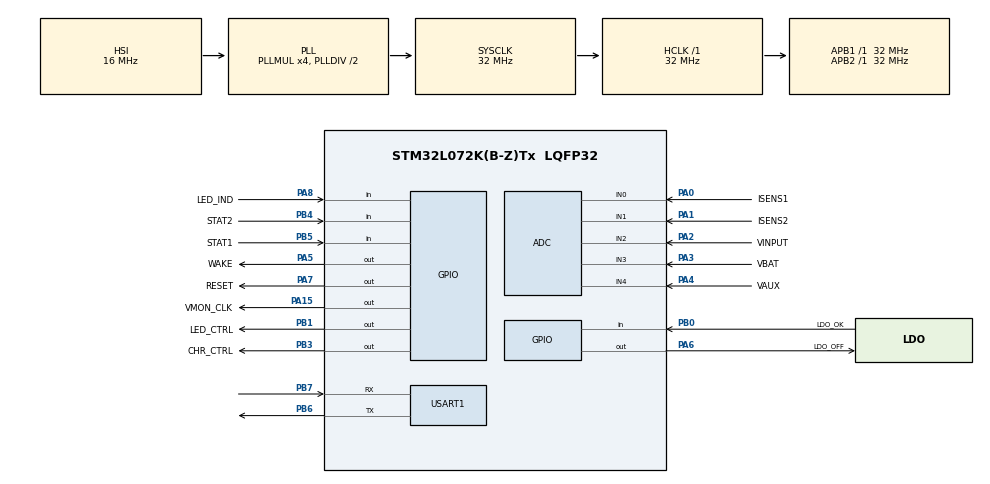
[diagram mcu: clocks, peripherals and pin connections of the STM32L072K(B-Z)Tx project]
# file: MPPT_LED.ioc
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ADC.ClockPrescaler=ADC_CLOCK_ASYNC_DIV4
ADC.ContinuousConvMode=ENABLE
ADC.DMAContinuousRequests=ENABLE
ADC.EOCSelection=ADC_EOC_SEQ_CONV
ADC.Overrun=ADC_OVR_DATA_OVERWRITTEN
ADC.SamplingTime=ADC_SAMPLETIME_39CYCLES_5
CRC.DefaultInitValueUse=DEFAULT_INIT_VALUE_ENABLE
CRC.DefaultPolynomialUse=DEFAULT_POLYNOMIAL_ENABLE
Dma.ADC.0.Direction=DMA_PERIPH_TO_MEMORY
Dma.ADC.0.Instance=DMA1_Channel1
Dma.ADC.0.MemDataAlignment=DMA_MDATAALIGN_HALFWORD
Dma.ADC.0.MemInc=DMA_MINC_ENABLE
Dma.ADC.0.Mode=DMA_CIRCULAR
Dma.ADC.0.PeriphDataAlignment=DMA_PDATAALIGN_HALFWORD
Dma.ADC.0.PeriphInc=DMA_PINC_DISABLE
Dma.ADC.0.Priority=DMA_PRIORITY_HIGH
Dma.Request0=ADC
Dma.Request1=USART1_RX
Dma.Request2=USART1_TX
Dma.USART1_RX.1.Direction=DMA_PERIPH_TO_MEMORY
Dma.USART1_RX.1.Instance=DMA1_Channel3
Dma.USART1_RX.1.MemDataAlignment=DMA_MDATAALIGN_BYTE
Dma.USART1_RX.1.MemInc=DMA_MINC_ENABLE
Dma.USART1_RX.1.Mode=DMA_CIRCULAR
Dma.USART1_RX.1.PeriphDataAlignment=DMA_PDATAALIGN_BYTE
Dma.USART1_RX.1.PeriphInc=DMA_PINC_DISABLE
Dma.USART1_RX.1.Priority=DMA_PRIORITY_HIGH
Dma.USART1_TX.2.Direction=DMA_MEMORY_TO_PERIPH
Dma.USART1_TX.2.Instance=DMA1_Channel2
Dma.USART1_TX.2.MemDataAlignment=DMA_MDATAALIGN_BYTE
Dma.USART1_TX.2.MemInc=DMA_MINC_ENABLE
Dma.USART1_TX.2.Mode=DMA_NORMAL
Dma.USART1_TX.2.PeriphDataAlignment=DMA_PDATAALIGN_BYTE
Dma.USART1_TX.2.PeriphInc=DMA_PINC_DISABLE
Dma.USART1_TX.2.Priority=DMA_PRIORITY_MEDIUM
FREERTOS.Tasks01=defaultTask,0,64,StartDefaultTask,Default,NULL,Dynamic,NULL,NULL
FREERTOS.configENABLE_FPU=1
FREERTOS.configMINIMAL_STACK_SIZE=64
FREERTOS.configTOTAL_HEAP_SIZE=6144
FREERTOS.configUSE_NEWLIB_REENTRANT=0
FREERTOS.configUSE_TASK_NOTIFICATIONS=1
IWDG.Prescaler=IWDG_PRESCALER_256
Mcu.Family=STM32L0
Mcu.Name=STM32L072K(B-Z)Tx
Mcu.Package=LQFP32
NVIC.ADC1_COMP_IRQn=true\:3\:0\:false\:false\:true\:true\:true\:true
NVIC.DMA1_Channel1_IRQn=true\:3\:0\:false\:false\:true\:true\:false\:true
NVIC.DMA1_Channel2_3_IRQn=true\:3\:0\:false\:false\:true\:true\:false\:true
NVIC.RCC_CRS_IRQn=true\:3\:0\:false\:false\:true\:true\:true\:false
NVIC.TIM21_IRQn=true\:3\:0\:false\:true\:true\:1\:true\:true\:true
NVIC.TIM2_IRQn=true\:3\:0\:false\:false\:true\:false\:false\:true
NVIC.TIM7_IRQn=true\:3\:0\:false\:false\:true\:true\:true\:true
NVIC.TimeBase=TIM2_IRQn
NVIC.TimeBaseIP=TIM2
NVIC.USART1_IRQn=true\:3\:0\:false\:false\:true\:true\:true\:true
PA0.GPIO_Label=ISENS1
PA0.Mode=IN0
PA0.Signal=ADC_IN0
PA1.GPIO_Label=ISENS2
PA1.Mode=IN1
PA1.Signal=ADC_IN1
PA13.Mode=Serial_Wire
PA13.Signal=SYS_SWDIO
PA14.Mode=Serial_Wire
PA14.Signal=SYS_SWCLK
PA15.GPIO_Label=VMON_CLK
PA15.Signal=GPIO_Output
PA2.GPIO_Label=VINPUT
PA2.Mode=IN2
PA2.Signal=ADC_IN2
PA3.GPIO_Label=VBAT
PA3.Mode=IN3
PA3.Signal=ADC_IN3
PA4.GPIO_Label=VAUX
PA4.Mode=IN4
PA4.Signal=ADC_IN4
PA5.GPIO_Label=WAKE
PA5.GPIO_PuPd=GPIO_PULLDOWN
PA5.Signal=GPIO_Output
PA6.GPIO_Label=LDO_OFF
PA6.GPIO_PuPd=GPIO_PULLDOWN
PA6.PinState=GPIO_PIN_SET
PA6.Signal=GPIO_Output
PA7.GPIO_Label=RESET
PA7.GPIO_PuPd=GPIO_PULLDOWN
PA7.Signal=GPIO_Output
PA8.GPIO_Label=LED_IND
PA8.Signal=GPIO_Input
PB0.GPIO_Label=LDO_OK
PB0.GPIO_PuPd=GPIO_PULLUP
PB0.Signal=GPIO_Input
PB1.GPIO_Label=LED_CTRL
PB1.GPIO_PuPd=GPIO_PULLDOWN
PB1.Signal=GPIO_Output
PB3.GPIO_Label=CHR_CTRL
PB3.GPIO_PuPd=GPIO_PULLDOWN
PB3.Signal=GPIO_Output
PB4.GPIO_Label=STAT2
PB4.GPIO_PuPd=GPIO_PULLUP
PB4.Signal=GPIO_Input
PB5.GPIO_Label=STAT1
PB5.GPIO_PuPd=GPIO_PULLUP
PB5.Signal=GPIO_Input
PB6.GPIO_PuPd=GPIO_PULLUP
PB6.GPIO_Speed=GPIO_SPEED_FREQ_MEDIUM
PB6.Mode=Asynchronous
PB6.Signal=USART1_TX
PB7.GPIO_PuPd=GPIO_PULLUP
PB7.GPIO_Speed=GPIO_SPEED_FREQ_MEDIUM
PB7.Mode=Asynchronous
PB7.Signal=USART1_RX
ProjectManager.HeapSize=0x400
ProjectManager.StackSize=0x400
ProjectManager.TargetToolchain=STM32CubeIDE
RCC.ADCFreq_Value=16000000
RCC.AHBFreq_Value=32000000
RCC.APB1Freq_Value=32000000
RCC.APB1TimFreq_Value=32000000
RCC.APB2Freq_Value=32000000
RCC.APB2TimFreq_Value=32000000
RCC.HCLKFreq_Value=32000000
RCC.HSI16_VALUE=16000000
RCC.HSI48MClockSelection=RCC_USBCLKSOURCE_HSI48
RCC.HSI48_VALUE=48000000
RCC.HSI_VALUE=16000000
RCC.LSE_VALUE=32768
RCC.MSIClockRange=RCC_MSIRANGE_6
RCC.MSI_VALUE=4194000
RCC.PLLMUL=RCC_PLLMUL_4
RCC.SYSCLKFreq_VALUE=32000000
RCC.SYSCLKSource=RCC_SYSCLKSOURCE_PLLCLK
RCC.Usart1ClockSelection=RCC_USART1CLKSOURCE_HSI
RCC.VCOOutputFreq_Value=64000000
SYS.PVDLevel=PWR_PVDLEVEL_6
TIM21.AutoReloadPreload=TIM_AUTORELOAD_PRELOAD_ENABLE
TIM21.Period=100-1
TIM21.Prescaler=32000-1
TIM22.Period=0xFFFF-1
TIM22.Prescaler=32-1
TIM7.AutoReloadPreload=TIM_AUTORELOAD_PRELOAD_ENABLE
TIM7.Period=10000
TIM7.Prescaler=32
USART1.VirtualMode-Asynchronous=VM_ASYNC
VP_CRC_VS_CRC.Mode=CRC_Activate
VP_FREERTOS_VS_CMSIS_V1.Mode=CMSIS_V1
VP_IWDG_VS_IWDG.Mode=IWDG_Activate
VP_SYS_VS_tim2.Mode=TIM2
VP_SYS_V_PVD_IN.Mode=Mode_PVD_Int
VP_TIM21_VS_ClockSourceINT.Mode=Internal
VP_TIM22_VS_ClockSourceINT.Mode=Internal
VP_TIM7_VS_ClockSourceINT.Mode=Enable_Timer
board=custom

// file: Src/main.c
/* USER CODE BEGIN Header */
/**
  ******************************************************************************
  * @file           : main.c
  * @brief          : Main program body
  ******************************************************************************
  * @attention
  *
  * <h2><center>&copy; Copyright (c) 2020 STMicroelectronics.
  * All rights reserved.</center></h2>
  *
  * This software component is licensed by ST under BSD 3-Clause license,
  * the "License"; You may not use this file except in compliance with the
  * License. You may obtain a copy of the License at:
  *                        opensource.org/licenses/BSD-3-Clause
  *
  ******************************************************************************
  */
/* USER CODE END Header */
#include "main.h"
#include "cmsis_os.h"

/* USER CODE BEGIN Includes */
#include "led_control_task.h"
#include "monitor_task.h"
#include "indication_task.h"
#include "management_task.h"
#include "eeprom.h"
#include "modem.h"
#include "StringCommandParser.h"
#include "string.h"
/* USER CODE END Includes */

ADC_HandleTypeDef hadc;
DMA_HandleTypeDef hdma_adc;

CRC_HandleTypeDef hcrc;

IWDG_HandleTypeDef hiwdg;

TIM_HandleTypeDef htim7;
TIM_HandleTypeDef htim21;
TIM_HandleTypeDef htim22;

UART_HandleTypeDef huart1;
DMA_HandleTypeDef hdma_usart1_rx;
DMA_HandleTypeDef hdma_usart1_tx;

osThreadId defaultTaskHandle;
/* USER CODE BEGIN PV */
EEPROMStorageTypDef eeprom_info;
uint8_t aRxBuffer;
/* USER CODE END PV */

void SystemClock_Config(void);
static void MX_CRC_Init(void);
static void MX_USART1_UART_Init(void);
static void MX_TIM7_Init(void);
static void MX_IWDG_Init(void);
void StartDefaultTask(void const * argument);

static void MX_NVIC_Init(void);

int main(void)
{

  /* MCU Configuration--------------------------------------------------------*/

  /* Reset of all peripherals, Initializes the Flash interface and the Systick. */
  HAL_Init();

  /* Configure the system clock */
  SystemClock_Config();

  /* Initialize all configured peripherals */
  MX_GPIO_Init();
  MX_DMA_Init();
  MX_ADC_Init();
  MX_TIM22_Init();
  MX_TIM21_Init();
  MX_CRC_Init();
  MX_USART1_UART_Init();
  MX_TIM7_Init();
  MX_IWDG_Init();

  /* Initialize interrupts */
  MX_NVIC_Init();
  /* USER CODE BEGIN 2 */

  /*Read saved data from EEPROM*/
  eeprom_ram_init(&eeprom_info);
  eeprom_save(&eeprom_info);

  /*Feed the watchdog timer*/
  HAL_IWDG_Refresh(&hiwdg);

  /*AT parser initialisation*/
 SCP_Init(uart_send_buff, uart_read_byte);

 /*Reset AT Parser rx buffer */
 SCP_InitRx();

 /*AT Callbacks Register*/

  /* USER CODE END 2 */

  /* USER CODE BEGIN RTOS_QUEUES */
  led_msg = osMessageCreate (&led_msg_def, LEDControlTaskHandle);
  ind_msg = osMessageCreate (&ind_msg_def, IndicationTaskHandle);
  /* USER CODE END RTOS_QUEUES */

  /* Create the thread(s) */
  /* definition and creation of defaultTask */
  osThreadDef(defaultTask, StartDefaultTask, osPriorityNormal, 0, 64);
  defaultTaskHandle = osThreadCreate(osThread(defaultTask), NULL);

  /* USER CODE BEGIN RTOS_THREADS */

  /* LED Control Task */
  osThreadDef(ledcontrol, LEDControlTask, osPriorityAboveNormal, 0, 64);
  LEDControlTaskHandle = osThreadCreate(osThread(ledcontrol), NULL);

  /* Monitoring Task */
  osThreadDef(monitoring, MonitorTask, osPriorityHigh, 0, 64);
  MonitorTaskHandle = osThreadCreate(osThread(monitoring), NULL);

  /* Indication Task */
  osThreadDef(indication, IndicationTask, osPriorityAboveNormal, 0, 64);
  IndicationTaskHandle = osThreadCreate(osThread(indication), NULL);

  /* Management Task */
  osThreadDef(management, ManagementTask, osPriorityNormal, 0, 1024);
  ManagementTaskHandle = osThreadCreate(osThread(management), NULL);

  /* USER CODE END RTOS_THREADS */

  /* Start scheduler */
  osKernelStart();

  /* We should never get here as control is now taken by the scheduler */
  /* Infinite loop */
  while (1)
  {

  }
}

void SystemClock_Config(void)
{
  RCC_OscInitTypeDef RCC_OscInitStruct = {0};
  RCC_ClkInitTypeDef RCC_ClkInitStruct = {0};
  RCC_PeriphCLKInitTypeDef PeriphClkInit = {0};

  /** Configure the main internal regulator output voltage
  */
  __HAL_PWR_VOLTAGESCALING_CONFIG(PWR_REGULATOR_VOLTAGE_SCALE1);
  /** Initializes the RCC Oscillators according to the specified parameters
  * in the RCC_OscInitTypeDef structure.
  */
  RCC_OscInitStruct.OscillatorType = RCC_OSCILLATORTYPE_HSI|RCC_OSCILLATORTYPE_LSI;
  RCC_OscInitStruct.HSIState = RCC_HSI_ON;
  RCC_OscInitStruct.HSICalibrationValue = RCC_HSICALIBRATION_DEFAULT;
  RCC_OscInitStruct.LSIState = RCC_LSI_ON;
  RCC_OscInitStruct.PLL.PLLState = RCC_PLL_ON;
  RCC_OscInitStruct.PLL.PLLSource = RCC_PLLSOURCE_HSI;
  RCC_OscInitStruct.PLL.PLLMUL = RCC_PLLMUL_4;
  RCC_OscInitStruct.PLL.PLLDIV = RCC_PLLDIV_2;
  if (HAL_RCC_OscConfig(&RCC_OscInitStruct) != HAL_OK)
  {
    Error_Handler();
  }
  /** Initializes the CPU, AHB and APB buses clocks
  */
  RCC_ClkInitStruct.ClockType = RCC_CLOCKTYPE_HCLK|RCC_CLOCKTYPE_SYSCLK
                              |RCC_CLOCKTYPE_PCLK1|RCC_CLOCKTYPE_PCLK2;
  RCC_ClkInitStruct.SYSCLKSource = RCC_SYSCLKSOURCE_PLLCLK;
  RCC_ClkInitStruct.AHBCLKDivider = RCC_SYSCLK_DIV1;
  RCC_ClkInitStruct.APB1CLKDivider = RCC_HCLK_DIV1;
  RCC_ClkInitStruct.APB2CLKDivider = RCC_HCLK_DIV1;

  if (HAL_RCC_ClockConfig(&RCC_ClkInitStruct, FLASH_LATENCY_1) != HAL_OK)
  {
    Error_Handler();
  }
  PeriphClkInit.PeriphClockSelection = RCC_PERIPHCLK_USART1;
  PeriphClkInit.Usart1ClockSelection = RCC_USART1CLKSOURCE_HSI;
  if (HAL_RCCEx_PeriphCLKConfig(&PeriphClkInit) != HAL_OK)
  {
    Error_Handler();
  }
}

/**
  * @brief NVIC Configuration.
  * @retval None
  */
static void MX_NVIC_Init(void)
{
  /* TIM21_IRQn interrupt configuration */
  HAL_NVIC_SetPriority(TIM21_IRQn, 3, 0);
  HAL_NVIC_EnableIRQ(TIM21_IRQn);
}

void MX_ADC_Init(void)
{

  ADC_ChannelConfTypeDef sConfig = {0};

  /** Configure the global features of the ADC (Clock, Resolution, Data Alignment and number of conversion)
  */
  hadc.Instance = ADC1;
  hadc.Init.OversamplingMode = DISABLE;
  hadc.Init.ClockPrescaler = ADC_CLOCK_ASYNC_DIV4;
  hadc.Init.Resolution = ADC_RESOLUTION_12B;
  hadc.Init.SamplingTime = ADC_SAMPLETIME_39CYCLES_5;
  hadc.Init.ScanConvMode = ADC_SCAN_DIRECTION_FORWARD;
  hadc.Init.DataAlign = ADC_DATAALIGN_RIGHT;
  hadc.Init.ContinuousConvMode = ENABLE;
  hadc.Init.DiscontinuousConvMode = DISABLE;
  hadc.Init.ExternalTrigConvEdge = ADC_EXTERNALTRIGCONVEDGE_NONE;
  hadc.Init.ExternalTrigConv = ADC_SOFTWARE_START;
  hadc.Init.DMAContinuousRequests = ENABLE;
  hadc.Init.EOCSelection = ADC_EOC_SEQ_CONV;
  hadc.Init.Overrun = ADC_OVR_DATA_OVERWRITTEN;
  hadc.Init.LowPowerAutoWait = DISABLE;
  hadc.Init.LowPowerFrequencyMode = DISABLE;
  hadc.Init.LowPowerAutoPowerOff = DISABLE;
  if (HAL_ADC_Init(&hadc) != HAL_OK)
  {
    Error_Handler();
  }
  /** Configure for the selected ADC regular channel to be converted.
  */
  sConfig.Channel = ADC_CHANNEL_0;
  sConfig.Rank = ADC_RANK_CHANNEL_NUMBER;
  if (HAL_ADC_ConfigChannel(&hadc, &sConfig) != HAL_OK)
  {
    Error_Handler();
  }
  /** Configure for the selected ADC regular channel to be converted.
  */
  sConfig.Channel = ADC_CHANNEL_1;
  if (HAL_ADC_ConfigChannel(&hadc, &sConfig) != HAL_OK)
  {
    Error_Handler();
  }
  /** Configure for the selected ADC regular channel to be converted.
  */
  sConfig.Channel = ADC_CHANNEL_2;
  if (HAL_ADC_ConfigChannel(&hadc, &sConfig) != HAL_OK)
  {
    Error_Handler();
  }
  /** Configure for the selected ADC regular channel to be converted.
  */
  sConfig.Channel = ADC_CHANNEL_3;
  if (HAL_ADC_ConfigChannel(&hadc, &sConfig) != HAL_OK)
  {
    Error_Handler();
  }
  /** Configure for the selected ADC regular channel to be converted.
  */
  sConfig.Channel = ADC_CHANNEL_4;
  if (HAL_ADC_ConfigChannel(&hadc, &sConfig) != HAL_OK)
  {
    Error_Handler();
  }

}

static void MX_CRC_Init(void)
{

  hcrc.Instance = CRC;
  hcrc.Init.DefaultPolynomialUse = DEFAULT_POLYNOMIAL_ENABLE;
  hcrc.Init.DefaultInitValueUse = DEFAULT_INIT_VALUE_ENABLE;
  hcrc.Init.InputDataInversionMode = CRC_INPUTDATA_INVERSION_NONE;
  hcrc.Init.OutputDataInversionMode = CRC_OUTPUTDATA_INVERSION_DISABLE;
  hcrc.InputDataFormat = CRC_INPUTDATA_FORMAT_BYTES;
  if (HAL_CRC_Init(&hcrc) != HAL_OK)
  {
    Error_Handler();
  }

}

static void MX_IWDG_Init(void)
{

  hiwdg.Instance = IWDG;
  hiwdg.Init.Prescaler = IWDG_PRESCALER_256;
  hiwdg.Init.Window = 4095;
  hiwdg.Init.Reload = 4095;
  if (HAL_IWDG_Init(&hiwdg) != HAL_OK)
  {
    Error_Handler();
  }

}

static void MX_TIM7_Init(void)
{

  TIM_MasterConfigTypeDef sMasterConfig = {0};

  htim7.Instance = TIM7;
  htim7.Init.Prescaler = 32;
  htim7.Init.CounterMode = TIM_COUNTERMODE_UP;
  htim7.Init.Period = 10000;
  htim7.Init.AutoReloadPreload = TIM_AUTORELOAD_PRELOAD_ENABLE;
  if (HAL_TIM_Base_Init(&htim7) != HAL_OK)
  {
    Error_Handler();
  }
  sMasterConfig.MasterOutputTrigger = TIM_TRGO_RESET;
  sMasterConfig.MasterSlaveMode = TIM_MASTERSLAVEMODE_DISABLE;
  if (HAL_TIMEx_MasterConfigSynchronization(&htim7, &sMasterConfig) != HAL_OK)
  {
    Error_Handler();
  }

}

void MX_TIM21_Init(void)
{

  TIM_ClockConfigTypeDef sClockSourceConfig = {0};
  TIM_MasterConfigTypeDef sMasterConfig = {0};

  htim21.Instance = TIM21;
  htim21.Init.Prescaler = 32000-1;
  htim21.Init.CounterMode = TIM_COUNTERMODE_UP;
  htim21.Init.Period = 100-1;
  htim21.Init.ClockDivision = TIM_CLOCKDIVISION_DIV1;
  htim21.Init.AutoReloadPreload = TIM_AUTORELOAD_PRELOAD_ENABLE;
  if (HAL_TIM_Base_Init(&htim21) != HAL_OK)
  {
    Error_Handler();
  }
  sClockSourceConfig.ClockSource = TIM_CLOCKSOURCE_INTERNAL;
  if (HAL_TIM_ConfigClockSource(&htim21, &sClockSourceConfig) != HAL_OK)
  {
    Error_Handler();
  }
  sMasterConfig.MasterOutputTrigger = TIM_TRGO_RESET;
  sMasterConfig.MasterSlaveMode = TIM_MASTERSLAVEMODE_DISABLE;
  if (HAL_TIMEx_MasterConfigSynchronization(&htim21, &sMasterConfig) != HAL_OK)
  {
    Error_Handler();
  }

}

void MX_TIM22_Init(void)
{

  TIM_ClockConfigTypeDef sClockSourceConfig = {0};
  TIM_MasterConfigTypeDef sMasterConfig = {0};

  htim22.Instance = TIM22;
  htim22.Init.Prescaler = 32-1;
  htim22.Init.CounterMode = TIM_COUNTERMODE_UP;
  htim22.Init.Period = 0xFFFF-1;
  htim22.Init.ClockDivision = TIM_CLOCKDIVISION_DIV1;
  htim22.Init.AutoReloadPreload = TIM_AUTORELOAD_PRELOAD_DISABLE;
  if (HAL_TIM_Base_Init(&htim22) != HAL_OK)
  {
    Error_Handler();
  }
  sClockSourceConfig.ClockSource = TIM_CLOCKSOURCE_INTERNAL;
  if (HAL_TIM_ConfigClockSource(&htim22, &sClockSourceConfig) != HAL_OK)
  {
    Error_Handler();
  }
  sMasterConfig.MasterOutputTrigger = TIM_TRGO_RESET;
  sMasterConfig.MasterSlaveMode = TIM_MASTERSLAVEMODE_DISABLE;
  if (HAL_TIMEx_MasterConfigSynchronization(&htim22, &sMasterConfig) != HAL_OK)
  {
    Error_Handler();
  }
  /* USER CODE BEGIN TIM22_Init 2 */
  HAL_TIM_Base_Start(&htim22);
  /* USER CODE END TIM22_Init 2 */

}

static void MX_USART1_UART_Init(void)
{

  huart1.Instance = USART1;
  huart1.Init.BaudRate = 115200;
  huart1.Init.WordLength = UART_WORDLENGTH_8B;
  huart1.Init.StopBits = UART_STOPBITS_1;
  huart1.Init.Parity = UART_PARITY_NONE;
  huart1.Init.Mode = UART_MODE_TX_RX;
  huart1.Init.HwFlowCtl = UART_HWCONTROL_NONE;
  huart1.Init.OverSampling = UART_OVERSAMPLING_16;
  huart1.Init.OneBitSampling = UART_ONE_BIT_SAMPLE_DISABLE;
  huart1.AdvancedInit.AdvFeatureInit = UART_ADVFEATURE_NO_INIT;
  if (HAL_UART_Init(&huart1) != HAL_OK)
  {
    Error_Handler();
  }

}

void MX_DMA_Init(void)
{

  /* DMA controller clock enable */
  __HAL_RCC_DMA1_CLK_ENABLE();

  /* DMA interrupt init */
  /* DMA1_Channel1_IRQn interrupt configuration */
  HAL_NVIC_SetPriority(DMA1_Channel1_IRQn, 3, 0);
  HAL_NVIC_EnableIRQ(DMA1_Channel1_IRQn);
  /* DMA1_Channel2_3_IRQn interrupt configuration */
  HAL_NVIC_SetPriority(DMA1_Channel2_3_IRQn, 3, 0);
  HAL_NVIC_EnableIRQ(DMA1_Channel2_3_IRQn);

}

void MX_GPIO_Init(void)
{
  GPIO_InitTypeDef GPIO_InitStruct = {0};

  /* GPIO Ports Clock Enable */
  __HAL_RCC_GPIOA_CLK_ENABLE();
  __HAL_RCC_GPIOB_CLK_ENABLE();

  /*Configure GPIO pin Output Level */
  HAL_GPIO_WritePin(GPIOA, WAKE_Pin|RESET_Pin|VMON_CLK_Pin, GPIO_PIN_RESET);

  /*Configure GPIO pin Output Level */
  HAL_GPIO_WritePin(LDO_OFF_GPIO_Port, LDO_OFF_Pin, GPIO_PIN_SET);

  /*Configure GPIO pin Output Level */
  HAL_GPIO_WritePin(GPIOB, LED_CTRL_Pin|CHR_CTRL_Pin, GPIO_PIN_RESET);

  /*Configure GPIO pins : WAKE_Pin LDO_OFF_Pin RESET_Pin */
  GPIO_InitStruct.Pin = WAKE_Pin|LDO_OFF_Pin|RESET_Pin;
  GPIO_InitStruct.Mode = GPIO_MODE_OUTPUT_PP;
  GPIO_InitStruct.Pull = GPIO_PULLDOWN;
  GPIO_InitStruct.Speed = GPIO_SPEED_FREQ_LOW;
  HAL_GPIO_Init(GPIOA, &GPIO_InitStruct);

  /*Configure GPIO pins : LDO_OK_Pin STAT2_Pin STAT1_Pin */
  GPIO_InitStruct.Pin = LDO_OK_Pin|STAT2_Pin|STAT1_Pin;
  GPIO_InitStruct.Mode = GPIO_MODE_INPUT;
  GPIO_InitStruct.Pull = GPIO_PULLUP;
  HAL_GPIO_Init(GPIOB, &GPIO_InitStruct);

  /*Configure GPIO pins : LED_CTRL_Pin CHR_CTRL_Pin */
  GPIO_InitStruct.Pin = LED_CTRL_Pin|CHR_CTRL_Pin;
  GPIO_InitStruct.Mode = GPIO_MODE_OUTPUT_PP;
  GPIO_InitStruct.Pull = GPIO_PULLDOWN;
  GPIO_InitStruct.Speed = GPIO_SPEED_FREQ_LOW;
  HAL_GPIO_Init(GPIOB, &GPIO_InitStruct);

  /*Configure GPIO pin : LED_IND_Pin */
  GPIO_InitStruct.Pin = LED_IND_Pin;
  GPIO_InitStruct.Mode = GPIO_MODE_INPUT;
  GPIO_InitStruct.Pull = GPIO_NOPULL;
  HAL_GPIO_Init(LED_IND_GPIO_Port, &GPIO_InitStruct);

  /*Configure GPIO pin : VMON_CLK_Pin */
  GPIO_InitStruct.Pin = VMON_CLK_Pin;
  GPIO_InitStruct.Mode = GPIO_MODE_OUTPUT_PP;
  GPIO_InitStruct.Pull = GPIO_NOPULL;
  GPIO_InitStruct.Speed = GPIO_SPEED_FREQ_LOW;
  HAL_GPIO_Init(VMON_CLK_GPIO_Port, &GPIO_InitStruct);

}

/* USER CODE BEGIN 4 */
void eeprom_ram_init(EEPROMStorageTypDef *eeprom)
{
	uint32_t crc;

	/*Copy data from EEPROM*/
	memcpy(eeprom, (uint32_t*)EEPROM_BASE_ADDRESS, sizeof(EEPROMStorageTypDef));

	/*Calculate the CRC*/
	crc = HAL_CRC_Calculate(&hcrc, (uint32_t *)eeprom, sizeof(EEPROMStorageTypDef)-sizeof(uint32_t));

	/*Initialize defaults if CRC is wrong*/
	if(crc != eeprom->crc)
	{
		eeprom->batt_full_mah = FULL_BATT_MAH;
		eeprom->batt_full_mv = FULL_BATT_MV;
		eeprom->batt_low_mv = BATT_LOW_MV;
		eeprom->vin_hys_mv = VINPUT_HYS;
		eeprom->vin_limit_mv = VINPUT_LIMIT;
		eeprom->total_batt_ouput_ah = 0;
	}
	else
	{
		storage.total_batt_ouput_ah = eeprom->total_batt_ouput_ah;
	}
}

void eeprom_save(EEPROMStorageTypDef *eeprom)
{
	uint32_t crc;

	/*Calculate the CRC*/
	crc = HAL_CRC_Calculate(&hcrc, (uint32_t *)eeprom, sizeof(EEPROMStorageTypDef)-sizeof(uint32_t));

	if(eeprom->crc != crc)
	{
		eeprom->crc = crc;

		/*Write to EEPROM*/
		writeEEPROMData(0, (uint8_t*)eeprom, sizeof(EEPROMStorageTypDef));
	}
}

void HAL_UART_RxCpltCallback(UART_HandleTypeDef *huart)
{
  if(huart->Instance == USART1)
  {
    /*Byte received, forward to AT parser*/
    SCP_ByteReceived(aRxBuffer);
  }
}

/* USER CODE END 4 */

void StartDefaultTask(void const * argument)
{
  for(;;)
  {
    osDelay(1);
  }
}

void HAL_TIM_PeriodElapsedCallback(TIM_HandleTypeDef *htim)
{
  if (htim->Instance == TIM2) {
    HAL_IncTick();
  }
  /* USER CODE BEGIN Callback 1 */
  if (htim->Instance == TIM21)
  {
	  osSignalSet (MonitorTaskHandle, 0x00000001);
  }

  if (htim->Instance == TIM7)
  {
	  SCP_Tick(10);
  }

  /* USER CODE END Callback 1 */
}

void Error_Handler(void)
{
}

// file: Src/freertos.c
/* USER CODE BEGIN Header */
/**
  ******************************************************************************
  * File Name          : freertos.c
  * Description        : Code for freertos applications
  ******************************************************************************
  * @attention
  *
  * <h2><center>&copy; Copyright (c) 2020 STMicroelectronics.
  * All rights reserved.</center></h2>
  *
  * This software component is licensed by ST under Ultimate Liberty license
  * SLA0044, the "License"; You may not use this file except in compliance with
  * the License. You may obtain a copy of the License at:
  *                             www.st.com/SLA0044
  *
  ******************************************************************************
  */
/* USER CODE END Header */

#include "FreeRTOS.h"
#include "task.h"
#include "main.h"

/* GetIdleTaskMemory prototype (linked to static allocation support) */
void vApplicationGetIdleTaskMemory( StaticTask_t **ppxIdleTaskTCBBuffer, StackType_t **ppxIdleTaskStackBuffer, uint32_t *pulIdleTaskStackSize );

/* USER CODE BEGIN GET_IDLE_TASK_MEMORY */
static StaticTask_t xIdleTaskTCBBuffer;
static StackType_t xIdleStack[configMINIMAL_STACK_SIZE];

void vApplicationGetIdleTaskMemory( StaticTask_t **ppxIdleTaskTCBBuffer, StackType_t **ppxIdleTaskStackBuffer, uint32_t *pulIdleTaskStackSize )
{
  *ppxIdleTaskTCBBuffer = &xIdleTaskTCBBuffer;
  *ppxIdleTaskStackBuffer = &xIdleStack[0];
  *pulIdleTaskStackSize = configMINIMAL_STACK_SIZE;
  /* place for user code */
}
/* USER CODE END GET_IDLE_TASK_MEMORY */
